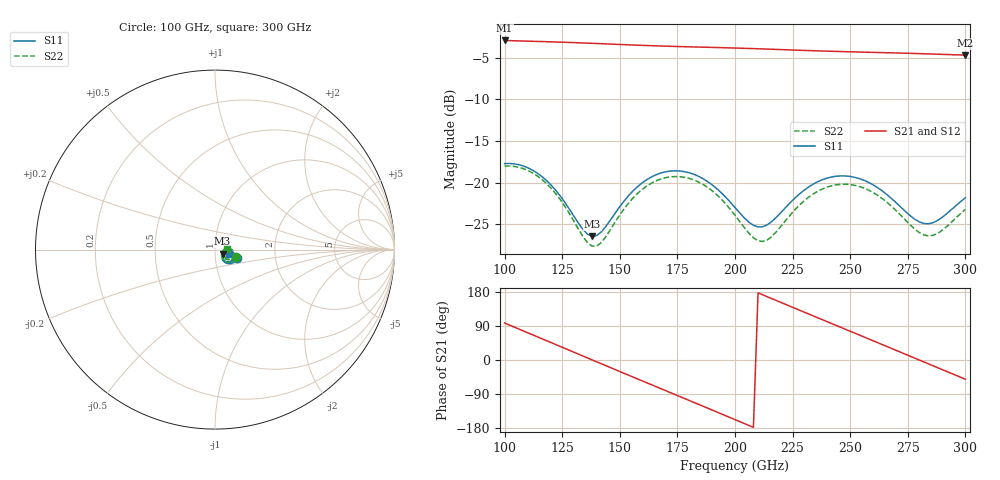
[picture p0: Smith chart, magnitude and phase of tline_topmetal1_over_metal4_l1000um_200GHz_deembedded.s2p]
! Created with skrf 2.0.1 (http://scikit-rf.org).
# GHz S DB R 50.0
!freq dBS11 angS11 dBS21 angS21 dBS12 angS12 dBS22 angS22
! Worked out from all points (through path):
!   101 points, 100 GHz to 300 GHz, reference 50 ohm
!   highest |S21| = -2.94 dB at 100 GHz (marker M1); lowest = -4.7 dB at 300 GHz (marker M2)
!   group delay of S21, straight-line fit = 7.06 ps
!   lowest |S11| = -26.4 dB at 138 GHz (marker M3), VSWR 1.10, Z = 54.3 - j2.47 ohm
!   |S11| at or under -10 dB: start of sweep to end of sweep
!   |S22| runs from -27.6 to -18.0 dB; largest |S21 - S12| = 1.2e-15
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100  -17.71 -21.9  -2.94 97.5  -2.94 97.5  -18.00 -19.0
108  -17.98 -34.7  -3.01 77.1  -3.01 77.1  -18.30 -31.6
116  -19.22 -46.0  -3.07 56.6  -3.07 56.6  -19.57 -43.1
126  -22.30 -53.2  -3.16 31.0  -3.16 31.0  -22.76 -51.0
134  -25.60 -42.6  -3.24 10.5  -3.24 10.5  -26.45 -41.0
138  -26.44 -28.4  -3.28 0.2  -3.28 0.2  -27.61 -25.6
142  -25.89 -13.6  -3.33 -10.0  -3.33 -10.0  -27.16 -8.3
152  -22.14 -1.2  -3.44 -35.5  -3.44 -35.5  -23.08 7.0
168  -18.82 -17.2  -3.61 -76.0  -3.61 -76.0  -19.54 -8.8
176  -18.59 -28.7  -3.67 -96.3  -3.67 -96.3  -19.28 -20.4
184  -19.21 -39.7  -3.73 -116.6  -3.73 -116.6  -19.89 -31.6
200  -22.97 -49.2  -3.85 -157.3  -3.85 -157.3  -23.90 -42.7
212  -25.28 -26.5  -3.96 172.1  -3.96 172.1  -27.05 -17.7
222  -22.96 -10.5  -4.06 146.7  -4.06 146.7  -24.53 3.3
234  -20.16 -15.7  -4.17 116.3  -4.17 116.3  -21.34 -0.7
242  -19.31 -24.9  -4.24 96.1  -4.24 96.1  -20.36 -9.8
250  -19.25 -35.1  -4.30 75.9  -4.30 75.9  -20.22 -20.0
258  -19.96 -44.4  -4.36 55.7  -4.36 55.7  -20.89 -29.5
268  -21.91 -51.0  -4.43 30.3  -4.43 30.3  -22.84 -36.8
276  -23.94 -47.2  -4.49 10.0  -4.49 10.0  -25.04 -33.7
284  -24.92 -32.6  -4.55 -10.3  -4.55 -10.3  -26.37 -18.3
300  -21.80 -17.7  -4.70 -50.7  -4.70 -50.7  -23.19 1.0
